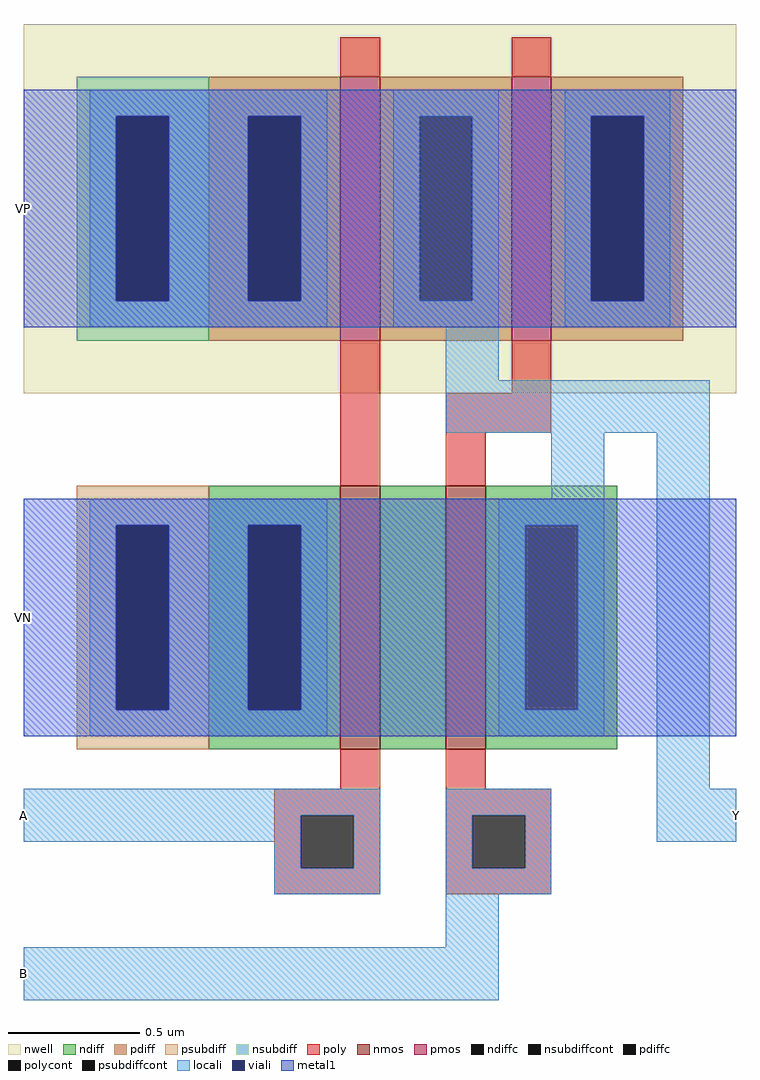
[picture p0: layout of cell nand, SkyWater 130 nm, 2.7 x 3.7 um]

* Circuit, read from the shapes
.subckt nand A B Y VP VN
XM1 n1 A VN VN sky130_fd_pr__nfet_01v8 w=1 l=0.15
XM2 Y B n1 VN sky130_fd_pr__nfet_01v8 w=1 l=0.15
XM3 Y A VP VP sky130_fd_pr__pfet_01v8 w=1 l=0.15
XM4 VP B Y VP sky130_fd_pr__pfet_01v8 w=1 l=0.15
.ends

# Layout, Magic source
magic
tech sky130A
<< nwell >>
rect -120 135 150 275
<< nmos >>
rect 0 0 15 100
rect 40 0 55 100
<< pmos >>
rect 0 155 15 255
rect 65 155 80 255
<< ndiff >>
rect -50 85 0 100
rect -50 15 -35 85
rect -15 15 0 85
rect -50 0 0 15
rect 15 0 40 100
rect 55 85 105 100
rect 55 15 70 85
rect 90 15 105 85
rect 55 0 105 15
<< pdiff >>
rect -50 240 0 255
rect -50 170 -35 240
rect -15 170 0 240
rect -50 155 0 170
rect 15 240 65 255
rect 15 170 30 240
rect 50 170 65 240
rect 15 155 65 170
rect 80 240 130 255
rect 80 170 95 240
rect 115 170 130 240
rect 80 155 130 170
<< ndiffc >>
rect -35 15 -15 85
rect 70 15 90 85
<< pdiffc >>
rect -35 170 -15 240
rect 30 170 50 240
rect 95 170 115 240
<< psubdiff >>
rect -100 85 -50 100
rect -100 15 -85 85
rect -65 15 -50 85
rect -100 0 -50 15
<< nsubdiff >>
rect -100 240 -50 255
rect -100 170 -85 240
rect -65 170 -50 240
rect -100 155 -50 170
<< psubdiffcont >>
rect -85 15 -65 85
<< nsubdiffcont >>
rect -85 170 -65 240
<< poly >>
rect 0 255 15 270
rect 65 255 80 270
rect 0 100 15 155
rect 65 135 80 155
rect 40 120 80 135
rect 40 100 55 120
rect 0 -15 15 0
rect -25 -25 15 -15
rect -25 -45 -15 -25
rect 5 -45 15 -25
rect -25 -55 15 -45
rect 40 -15 55 0
rect 40 -25 80 -15
rect 40 -45 50 -25
rect 70 -45 80 -25
rect 40 -55 80 -45
<< polycont >>
rect -15 -45 5 -25
rect 50 -45 70 -25
<< locali >>
rect -95 240 -5 250
rect -95 170 -85 240
rect -65 170 -35 240
rect -15 170 -5 240
rect -95 160 -5 170
rect 20 240 60 250
rect 20 170 30 240
rect 50 170 60 240
rect 20 160 60 170
rect 85 240 125 250
rect 85 170 95 240
rect 115 170 125 240
rect 85 160 125 170
rect 40 140 60 160
rect 40 120 140 140
rect 80 95 100 120
rect -95 85 -5 95
rect -95 15 -85 85
rect -65 15 -35 85
rect -15 15 -5 85
rect -95 5 -5 15
rect 60 85 100 95
rect 60 15 70 85
rect 90 15 100 85
rect 60 5 100 15
rect 120 -15 140 120
rect -120 -25 15 -15
rect -120 -35 -15 -25
rect -25 -45 -15 -35
rect 5 -45 15 -25
rect -25 -55 15 -45
rect 40 -25 80 -15
rect 40 -45 50 -25
rect 70 -45 80 -25
rect 120 -35 150 -15
rect 40 -55 80 -45
rect 40 -75 60 -55
rect -120 -95 60 -75
<< viali >>
rect -85 170 -65 240
rect -35 170 -15 240
rect 95 170 115 240
rect -85 15 -65 85
rect -35 15 -15 85
<< metal1 >>
rect -120 240 150 250
rect -120 170 -85 240
rect -65 170 -35 240
rect -15 170 95 240
rect 115 170 150 240
rect -120 160 150 170
rect -120 85 150 95
rect -120 15 -85 85
rect -65 15 -35 85
rect -15 15 150 85
rect -120 5 150 15
<< labels >>
rlabel locali -120 -25 -120 -25 7 A
port 1 w
rlabel locali -120 -85 -120 -85 7 B
port 2 w
rlabel locali 150 -25 150 -25 3 Y
port 3 e
rlabel metal1 -120 205 -120 205 7 VP
port 4 w
rlabel metal1 -120 50 -120 50 7 VN
port 5 w
<< end >>
